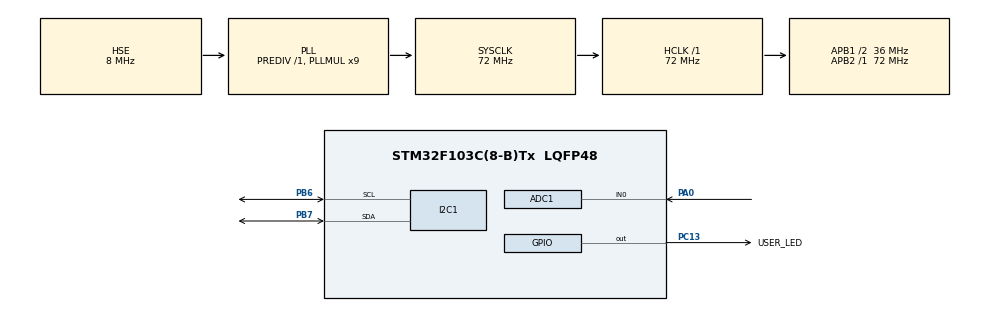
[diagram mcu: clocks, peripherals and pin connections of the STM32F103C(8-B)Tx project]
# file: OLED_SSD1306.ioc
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ADC1.NbrOfConversionFlag=1
ADC1.master=1
I2C1.I2C_Mode=I2C_Fast
Mcu.Family=STM32F1
Mcu.Name=STM32F103C(8-B)Tx
Mcu.Package=LQFP48
NVIC.PriorityGroup=NVIC_PRIORITYGROUP_4
PA0-WKUP.Signal=ADCx_IN0
PA13.Mode=Serial_Wire
PA13.Signal=SYS_JTMS-SWDIO
PA14.Mode=Serial_Wire
PA14.Signal=SYS_JTCK-SWCLK
PB6.Mode=I2C
PB6.Signal=I2C1_SCL
PB7.Mode=I2C
PB7.Signal=I2C1_SDA
PC13-TAMPER-RTC.GPIO_Label=USER_LED
PC13-TAMPER-RTC.Signal=GPIO_Output
PD0-OSC_IN.Mode=HSE-External-Oscillator
PD0-OSC_IN.Signal=RCC_OSC_IN
PD1-OSC_OUT.Mode=HSE-External-Oscillator
PD1-OSC_OUT.Signal=RCC_OSC_OUT
ProjectManager.HeapSize=0x200
ProjectManager.StackSize=0x400
ProjectManager.TargetToolchain=STM32CubeIDE
RCC.ADCPresc=RCC_ADCPCLK2_DIV6
RCC.AHBFreq_Value=72000000
RCC.APB1CLKDivider=RCC_HCLK_DIV2
RCC.APB1Freq_Value=36000000
RCC.APB1TimFreq_Value=72000000
RCC.APB2Freq_Value=72000000
RCC.APB2TimFreq_Value=72000000
RCC.HCLKFreq_Value=72000000
RCC.PLLMUL=RCC_PLL_MUL9
RCC.PLLSourceVirtual=RCC_PLLSOURCE_HSE
RCC.SYSCLKFreq_VALUE=72000000
RCC.SYSCLKSource=RCC_SYSCLKSOURCE_PLLCLK
RCC.USBFreq_Value=72000000
SH.ADCx_IN0.0=ADC1_IN0,IN0
board=custom

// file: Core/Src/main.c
/* USER CODE BEGIN Header */
/**
  ******************************************************************************
  * @file           : main.c
  * @brief          : Main program body
  ******************************************************************************
  * @attention
  *
  * Copyright (c) 2024 STMicroelectronics.
  * All rights reserved.
  *
  * This software is licensed under terms that can be found in the LICENSE file
  * in the root directory of this software component.
  * If no LICENSE file comes with this software, it is provided AS-IS.
  *
  ******************************************************************************
  */
/* USER CODE END Header */
#include "main.h"

/* USER CODE BEGIN Includes */
#include "fonts.h"
#include "ssd1306.h"
#include "img.h"
/* USER CODE END Includes */

/* USER CODE BEGIN PD */
void SysTick_Handler(void);

/* USER CODE END PD */

ADC_HandleTypeDef hadc1;

I2C_HandleTypeDef hi2c1;

/* USER CODE BEGIN PV */
volatile uint32_t var1 = 777;
volatile uint32_t var2 = 315;

char* var1_str;
char* var2_str;

volatile uint32_t time_adc_conv = 0;
volatile uint8_t adc_flag = 0;
volatile uint32_t time_oled = 0;
volatile uint8_t oled_flag = 0;
volatile uint32_t debug_counter = 0;
volatile uint8_t clear_flag = 0;

uint32_t volume = 0;
volatile float progress = 0;

char* volume_str;

/* USER CODE END PV */

void SystemClock_Config(void);
static void MX_GPIO_Init(void);
static void MX_I2C1_Init(void);
static void MX_ADC1_Init(void);

int main(void)
{

  /* USER CODE BEGIN 1 */
	char* uint32_to_string(uint32_t value) {

		char* buffer = (char*)malloc(11);
		if (buffer == NULL) {
			return NULL;
		}

		sprintf(buffer, "%u", value);

		return buffer;
	}

	uint8_t calculate_progress(uint32_t value){

		uint32_t result = 0;
		value /= 4096;
		result = value * 128;

		return result;
	}
  /* USER CODE END 1 */

  /* MCU Configuration--------------------------------------------------------*/

  /* Reset of all peripherals, Initializes the Flash interface and the Systick. */
  HAL_Init();

  /* Configure the system clock */
  SystemClock_Config();

  /* Initialize all configured peripherals */
  MX_GPIO_Init();
  MX_I2C1_Init();
  MX_ADC1_Init();
  /* USER CODE BEGIN 2 */
  HAL_ADC_Start(&hadc1);

  SSD1306_Init();
//  SSD1306_GotoXY(5, 0);
//  SSD1306_Puts("Hello", &Font_11x18, 1);
//  SSD1306_GotoXY(5, 30);
//  SSD1306_Puts("Gabriel", &Font_11x18, 1);
//  SSD1306_UpdateScreen();
//
////  SSD1306_ScrollLeft(0, 10);
////  HAL_Delay(3000);
////  SSD1306_ScrollRight(0, 10);
//  HAL_Delay(5000);
//  SSD1306_Stopscroll();
//  HAL_Delay(3000);
  SSD1306_Clear();

//  SSD1306_DrawBitmap(0, 0, img, 128, 64, 1);
//  SSD1306_UpdateScreen();
  /* USER CODE END 2 */

  /* Infinite loop */
  /* USER CODE BEGIN WHILE */
  while (1)
  {
//	HAL_Delay(1000);
//	HAL_GPIO_TogglePin(USER_LED_GPIO_Port,USER_LED_Pin);
//	HAL_Delay(1000);
//	HAL_GPIO_TogglePin(USER_LED_GPIO_Port,USER_LED_Pin);

  if(adc_flag){

	  HAL_ADC_PollForConversion(&hadc1,1000);
	  volume = HAL_ADC_GetValue(&hadc1);
	  if (volume<= 1000){
		  if (clear_flag == 0){
			  clear_flag = 1;
		  }
	  }
	  else if (volume >= 1000){
		  clear_flag = 0;
	  }
	  adc_flag = 0;
	  }
  if (oled_flag){
	  SSD1306_UpdateScreen();
	  if(clear_flag == 1){

		  SSD1306_Clear();
		  clear_flag = 2;
	  }

	  volume_str = uint32_to_string(volume);
	  SSD1306_GotoXY(40, 5);
	  SSD1306_Puts(volume_str, &Font_11x18, 1);
	  SSD1306_UpdateScreen();
	  SSD1306_GotoXY(0,40);
	  progress = calculate_progress(volume);
	  SSD1306_DrawFilledRectangle(0,40,128,10,1);
	  SSD1306_UpdateScreen();

////	  SSD1306_Puts(volume_str, &Font_11x18, 1);
//	  SSD1306_UpdateScreen();
//	  SSD1306_DrawRectangle(16,25,100,3,1);
//
//	  SSD1306_UpdateScreen();
	  oled_flag = 0;

  }
    /* USER CODE END WHILE */

  }
}

void SystemClock_Config(void)
{
  RCC_OscInitTypeDef RCC_OscInitStruct = {0};
  RCC_ClkInitTypeDef RCC_ClkInitStruct = {0};
  RCC_PeriphCLKInitTypeDef PeriphClkInit = {0};

  /** Initializes the RCC Oscillators according to the specified parameters
  * in the RCC_OscInitTypeDef structure.
  */
  RCC_OscInitStruct.OscillatorType = RCC_OSCILLATORTYPE_HSE;
  RCC_OscInitStruct.HSEState = RCC_HSE_ON;
  RCC_OscInitStruct.HSEPredivValue = RCC_HSE_PREDIV_DIV1;
  RCC_OscInitStruct.HSIState = RCC_HSI_ON;
  RCC_OscInitStruct.PLL.PLLState = RCC_PLL_ON;
  RCC_OscInitStruct.PLL.PLLSource = RCC_PLLSOURCE_HSE;
  RCC_OscInitStruct.PLL.PLLMUL = RCC_PLL_MUL9;
  if (HAL_RCC_OscConfig(&RCC_OscInitStruct) != HAL_OK)
  {
    Error_Handler();
  }

  /** Initializes the CPU, AHB and APB buses clocks
  */
  RCC_ClkInitStruct.ClockType = RCC_CLOCKTYPE_HCLK|RCC_CLOCKTYPE_SYSCLK
                              |RCC_CLOCKTYPE_PCLK1|RCC_CLOCKTYPE_PCLK2;
  RCC_ClkInitStruct.SYSCLKSource = RCC_SYSCLKSOURCE_PLLCLK;
  RCC_ClkInitStruct.AHBCLKDivider = RCC_SYSCLK_DIV1;
  RCC_ClkInitStruct.APB1CLKDivider = RCC_HCLK_DIV2;
  RCC_ClkInitStruct.APB2CLKDivider = RCC_HCLK_DIV1;

  if (HAL_RCC_ClockConfig(&RCC_ClkInitStruct, FLASH_LATENCY_2) != HAL_OK)
  {
    Error_Handler();
  }
  PeriphClkInit.PeriphClockSelection = RCC_PERIPHCLK_ADC;
  PeriphClkInit.AdcClockSelection = RCC_ADCPCLK2_DIV6;
  if (HAL_RCCEx_PeriphCLKConfig(&PeriphClkInit) != HAL_OK)
  {
    Error_Handler();
  }
}

static void MX_ADC1_Init(void)
{

  ADC_ChannelConfTypeDef sConfig = {0};

  /** Common config
  */
  hadc1.Instance = ADC1;
  hadc1.Init.ScanConvMode = ADC_SCAN_ENABLE;
  hadc1.Init.ContinuousConvMode = ENABLE;
  hadc1.Init.DiscontinuousConvMode = DISABLE;
  hadc1.Init.ExternalTrigConv = ADC_SOFTWARE_START;
  hadc1.Init.DataAlign = ADC_DATAALIGN_RIGHT;
  hadc1.Init.NbrOfConversion = 1;
  if (HAL_ADC_Init(&hadc1) != HAL_OK)
  {
    Error_Handler();
  }

  /** Configure Regular Channel
  */
  sConfig.Channel = ADC_CHANNEL_0;
  sConfig.Rank = ADC_REGULAR_RANK_1;
  sConfig.SamplingTime = ADC_SAMPLETIME_1CYCLE_5;
  if (HAL_ADC_ConfigChannel(&hadc1, &sConfig) != HAL_OK)
  {
    Error_Handler();
  }

}

static void MX_I2C1_Init(void)
{

  hi2c1.Instance = I2C1;
  hi2c1.Init.ClockSpeed = 400000;
  hi2c1.Init.DutyCycle = I2C_DUTYCYCLE_2;
  hi2c1.Init.OwnAddress1 = 0;
  hi2c1.Init.AddressingMode = I2C_ADDRESSINGMODE_7BIT;
  hi2c1.Init.DualAddressMode = I2C_DUALADDRESS_DISABLE;
  hi2c1.Init.OwnAddress2 = 0;
  hi2c1.Init.GeneralCallMode = I2C_GENERALCALL_DISABLE;
  hi2c1.Init.NoStretchMode = I2C_NOSTRETCH_DISABLE;
  if (HAL_I2C_Init(&hi2c1) != HAL_OK)
  {
    Error_Handler();
  }

}

static void MX_GPIO_Init(void)
{
  GPIO_InitTypeDef GPIO_InitStruct = {0};

  /* GPIO Ports Clock Enable */
  __HAL_RCC_GPIOC_CLK_ENABLE();
  __HAL_RCC_GPIOD_CLK_ENABLE();
  __HAL_RCC_GPIOA_CLK_ENABLE();
  __HAL_RCC_GPIOB_CLK_ENABLE();

  /*Configure GPIO pin Output Level */
  HAL_GPIO_WritePin(USER_LED_GPIO_Port, USER_LED_Pin, GPIO_PIN_RESET);

  /*Configure GPIO pin : USER_LED_Pin */
  GPIO_InitStruct.Pin = USER_LED_Pin;
  GPIO_InitStruct.Mode = GPIO_MODE_OUTPUT_PP;
  GPIO_InitStruct.Pull = GPIO_NOPULL;
  GPIO_InitStruct.Speed = GPIO_SPEED_FREQ_LOW;
  HAL_GPIO_Init(USER_LED_GPIO_Port, &GPIO_InitStruct);

}

/* USER CODE BEGIN 4 */
void SysTick_Handler(void)
{
  /* USER CODE BEGIN SysTick_IRQn 0 */

  /* USER CODE END SysTick_IRQn 0 */
  HAL_IncTick();
  /* USER CODE BEGIN SysTick_IRQn 1 */
  time_adc_conv++;
  time_oled++;
  /* USER CODE END SysTick_IRQn 1 */

  if (time_adc_conv == 10){
	  adc_flag = 1;
	  debug_counter++;
	  time_adc_conv = 0;
  }
  if (time_oled == 20){
  	  oled_flag = 1;
  	  time_oled = 0;
  }

}
/* USER CODE END 4 */

void Error_Handler(void)
{
  __disable_irq();
  while (1)
  {
  }
}
